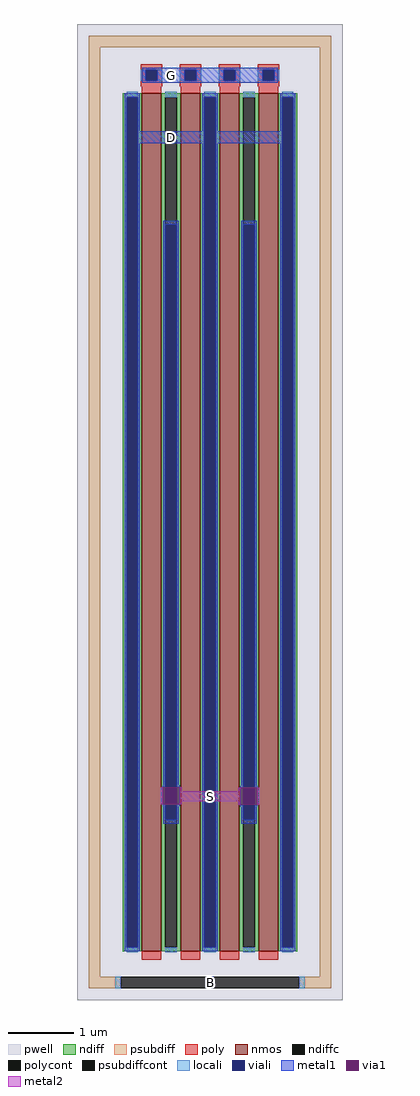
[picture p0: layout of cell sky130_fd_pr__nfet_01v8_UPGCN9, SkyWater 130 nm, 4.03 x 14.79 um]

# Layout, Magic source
magic
tech sky130A
magscale 1 2
<< pwell >>
rect -403 -1479 403 1479
<< nmos >>
rect -207 -1331 -147 1269
rect -89 -1331 -29 1269
rect 29 -1331 89 1269
rect 147 -1331 207 1269
<< ndiff >>
rect -265 1257 -207 1269
rect -265 -1319 -253 1257
rect -219 -1319 -207 1257
rect -265 -1331 -207 -1319
rect -147 1257 -89 1269
rect -147 -1319 -135 1257
rect -101 -1319 -89 1257
rect -147 -1331 -89 -1319
rect -29 1257 29 1269
rect -29 -1319 -17 1257
rect 17 -1319 29 1257
rect -29 -1331 29 -1319
rect 89 1257 147 1269
rect 89 -1319 101 1257
rect 135 -1319 147 1257
rect 89 -1331 147 -1319
rect 207 1257 265 1269
rect 207 -1319 219 1257
rect 253 -1319 265 1257
rect 207 -1331 265 -1319
<< ndiffc >>
rect -253 -1319 -219 1257
rect -135 -1319 -101 1257
rect -17 -1319 17 1257
rect 101 -1319 135 1257
rect 219 -1319 253 1257
<< psubdiff >>
rect -367 1409 367 1443
rect -367 -1409 -333 1409
rect 333 -1409 367 1409
rect -367 -1443 -271 -1409
rect 271 -1443 367 -1409
<< psubdiffcont >>
rect -271 -1443 271 -1409
<< poly >>
rect -210 1341 -144 1357
rect -210 1307 -194 1341
rect -160 1307 -144 1341
rect -210 1291 -144 1307
rect -92 1341 -26 1357
rect -92 1307 -76 1341
rect -42 1307 -26 1341
rect -92 1291 -26 1307
rect 26 1341 92 1357
rect 26 1307 42 1341
rect 76 1307 92 1341
rect 26 1291 92 1307
rect 144 1341 210 1357
rect 144 1307 160 1341
rect 194 1307 210 1341
rect 144 1291 210 1307
rect -207 1269 -147 1291
rect -89 1269 -29 1291
rect 29 1269 89 1291
rect 147 1269 207 1291
rect -207 -1357 -147 -1331
rect -89 -1357 -29 -1331
rect 29 -1357 89 -1331
rect 147 -1357 207 -1331
<< polycont >>
rect -194 1307 -160 1341
rect -76 1307 -42 1341
rect 42 1307 76 1341
rect 160 1307 194 1341
<< locali >>
rect -210 1307 -194 1341
rect -160 1307 -144 1341
rect -92 1307 -76 1341
rect -42 1307 -26 1341
rect 26 1307 42 1341
rect 76 1307 92 1341
rect 144 1307 160 1341
rect 194 1307 210 1341
rect -253 1257 -219 1273
rect -253 -1335 -219 -1319
rect -135 1257 -101 1273
rect -135 -1335 -101 -1319
rect -17 1257 17 1273
rect -17 -1335 17 -1319
rect 101 1257 135 1273
rect 101 -1335 135 -1319
rect 219 1257 253 1273
rect 219 -1335 253 -1319
rect -287 -1443 -271 -1409
rect 271 -1443 287 -1409
<< viali >>
rect -194 1307 -160 1341
rect -76 1307 -42 1341
rect 42 1307 76 1341
rect 160 1307 194 1341
rect -253 -1319 -219 1257
rect -135 -933 -101 871
rect -17 -1319 17 1257
rect 101 -933 135 871
rect 219 -1319 253 1257
<< metal1 >>
rect -206 1341 206 1347
rect -206 1307 -194 1341
rect -160 1307 -76 1341
rect -42 1307 42 1341
rect 76 1307 160 1341
rect 194 1307 206 1341
rect -206 1301 206 1307
rect -259 1257 -213 1269
rect -259 -1319 -253 1257
rect -219 1154 -213 1257
rect -23 1257 23 1269
rect -23 1154 -17 1257
rect -219 1118 -17 1154
rect -219 -1319 -213 1118
rect -141 871 -95 883
rect -141 -828 -135 871
rect -143 -834 -135 -828
rect -101 -828 -95 871
rect -101 -834 -91 -828
rect -143 -892 -135 -886
rect -141 -933 -135 -892
rect -101 -892 -91 -886
rect -101 -933 -95 -892
rect -141 -945 -95 -933
rect -259 -1331 -213 -1319
rect -23 -1319 -17 1118
rect 17 1154 23 1257
rect 213 1257 259 1269
rect 213 1154 219 1257
rect 17 1118 219 1154
rect 17 -1319 23 1118
rect 95 871 141 883
rect 95 -829 101 871
rect 91 -835 101 -829
rect 135 -829 141 871
rect 135 -835 143 -829
rect 91 -893 101 -887
rect 95 -933 101 -893
rect 135 -893 143 -887
rect 135 -933 141 -893
rect 95 -945 141 -933
rect -23 -1331 23 -1319
rect 213 -1319 219 1118
rect 253 -1319 259 1257
rect 213 -1331 259 -1319
<< via1 >>
rect -143 -886 -135 -834
rect -135 -886 -101 -834
rect -101 -886 -91 -834
rect 91 -887 101 -835
rect 101 -887 135 -835
rect 135 -887 143 -835
<< metal2 >>
rect -149 -886 -143 -834
rect -91 -846 -85 -834
rect 85 -846 91 -835
rect -91 -876 91 -846
rect -91 -886 -85 -876
rect 85 -887 91 -876
rect 143 -887 149 -835
<< labels >>
rlabel metal1 -160 1301 -76 1347 1 G
rlabel metal1 -219 1118 -17 1154 1 D
rlabel metal2 -91 -876 91 -846 1 S
rlabel psubdiffcont 1 -1426 1 -1426 1 B
rlabel psubdiffcont -271 -1443 271 -1409 1 B
<< properties >>
string FIXED_BBOX -350 -1426 350 1426
string gencell sky130_fd_pr__nfet_01v8
string library sky130
string parameters w 13 l 0.3 m 1 nf 4 diffcov 100 polycov 100 guard 1 glc 0 grc 0 gtc 0 gbc 1 tbcov 100 rlcov 100 topc 1 botc 0 poverlap 0 doverlap 1 lmin 0.15 wmin 0.42 compatible {sky130_fd_pr__nfet_01v8 sky130_fd_pr__nfet_01v8_lvt  sky130_fd_bs_flash__special_sonosfet_star  sky130_fd_pr__nfet_g5v0d10v5 sky130_fd_pr__nfet_05v0_nvt  sky130_fd_pr__nfet_03v3_nvt} full_metal 0 viasrc 70 viadrn 100 viagate 100 viagb 0 viagr 0 viagl 0 viagt 0
<< end >>
